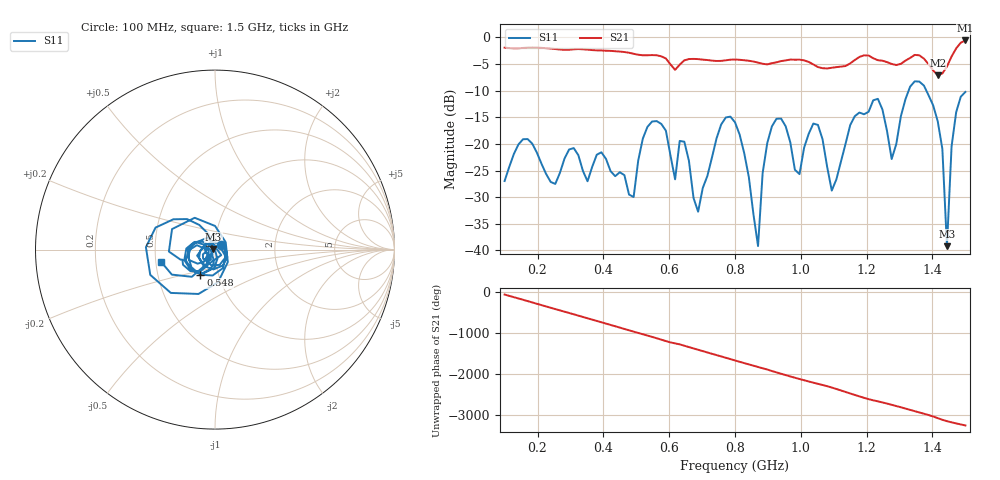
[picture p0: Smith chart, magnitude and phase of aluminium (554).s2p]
! NanoVNA-App
! Date: 2025-09-25 14:59:35
! Start: 100MHz Stop: 1,5GHz Points: 101
! S-Parameter data: F S11 S21 S12 S22
# Hz S RI R 50
!  Frequency  S11_Real  S11_Imag  S21_Real  S21_Imag  S12_Real  S12_Imag  S22_Real  S22_Imag
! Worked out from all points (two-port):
!   101 points, 100 MHz to 1.5 GHz, reference 50 ohm
!   highest |S21| = -0.56 dB at 1.5 GHz (marker M1); lowest = -7.1 dB at 1.416 GHz (marker M2)
!   |S21| within 3 dB of the highest: start of sweep to 576.6 MHz; 1.458 GHz to end of sweep (the widest 2 of 4)
!   lowest |S11| = -39.2 dB at 1.444 GHz (marker M3), VSWR 1.02, Z = 49 + j0.368 ohm
!   |S11| at or under -10 dB: start of sweep to 1.328 GHz; 1.381 GHz to end of sweep
!   S12 and S22 are empty: the file has one direction only
!   S11 on the Smith chart (normalised r, x): 100 MHz: 1.07, +0.06; 548 MHz: 0.82, -0.24; 1.5 GHz: 0.53, -0.08
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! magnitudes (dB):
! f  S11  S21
! 100 MHz  -27.0  -1.9
! 156 MHz  -19.1  -2.0
! 338 MHz  -25.1  -2.2
! 492 MHz  -30.0  -3.1
! 548 MHz  -15.8  -3.3
! 576 MHz  -16.2  -3.5
! 618 MHz  -26.6  -6.1
! 646 MHz  -19.6  -4.3
! 688 MHz  -32.7  -4.1
! 800 MHz  -15.9  -4.1
! 870 MHz  -39.2  -4.7
! 912 MHz  -16.7  -4.8
! 996 MHz  -25.7  -4.2
! 1.038 GHz  -16.2  -5.1
! 1.094 GHz  -28.8  -5.7
! 1.22 GHz  -11.8  -3.9
! 1.276 GHz  -22.8  -5.0
! 1.346 GHz  -8.2  -3.3
! 1.416 GHz  -15.7  -7.1
! 1.444 GHz  -39.2  -5.5
! 1.458 GHz  -20.5  -3.6
! 1.5 GHz  -10.2  -0.6
